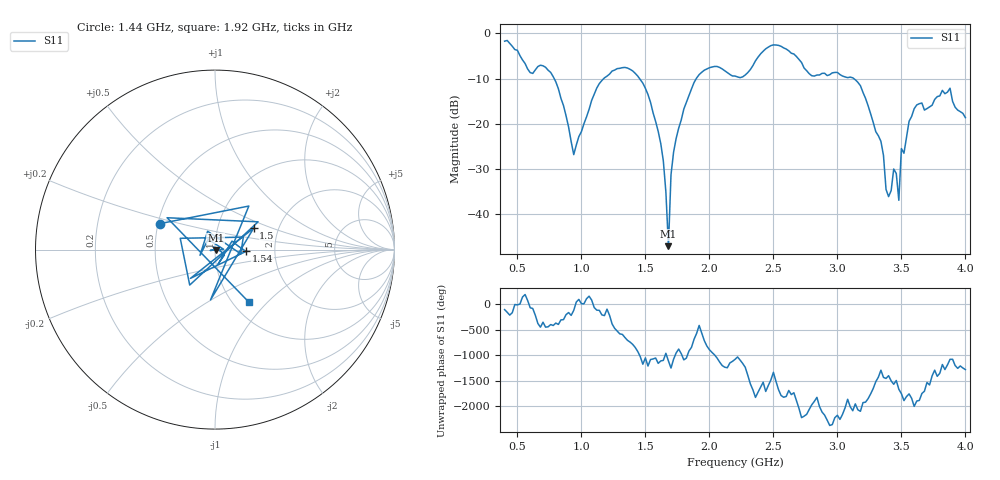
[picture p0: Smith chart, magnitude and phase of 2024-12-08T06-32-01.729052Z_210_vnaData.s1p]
!Created with skrf (http://scikit-rf.org).
# Hz S RI R 50.0
!freq ReS11 ImS11
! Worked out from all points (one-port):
!   181 points, 400 MHz to 4 GHz, reference 50 ohm
!   lowest |S11| = -47.1 dB at 1.68 GHz (marker M1), VSWR 1.01, Z = 50.4 - j0.235 ohm
!   |S11| at or under -10 dB: 787.2 MHz to 1.175 GHz (387.4 MHz wide, 39.5 % of centre); 1.454 GHz to 1.898 GHz (443.8 MHz wide, 26.5 % of centre); 3.128 GHz to end of sweep
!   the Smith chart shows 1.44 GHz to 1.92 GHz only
!   S11 on the Smith chart (normalised r, x): 1.44 GHz: 0.51, +0.17; 1.5 GHz: 1.49, +0.38; 1.54 GHz: 1.42, -0.03; 1.92 GHz: 1.18, -0.79
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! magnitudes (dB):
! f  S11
! 400 MHz  -1.7
! 600 MHz  -8.7
! 760 MHz  -8.6
! 860 MHz  -16.0
! 940 MHz  -26.8
! 1.12 GHz  -12.1
! 1.3 GHz  -7.7
! 1.44 GHz  -9.4
! 1.5 GHz  -12.2
! 1.54 GHz  -15.2
! 1.64 GHz  -28.2
! 1.68 GHz  -47.1
! 1.7 GHz  -31.3
! 1.76 GHz  -21.0
! 1.92 GHz  -9.1
! 2.2 GHz  -9.4
! 2.48 GHz  -2.7
! 2.66 GHz  -4.6
! 2.8 GHz  -9.4
! 3.1 GHz  -9.7
! 3.34 GHz  -23.9
! 3.4 GHz  -36.1
! 3.44 GHz  -30.0
! 3.48 GHz  -36.9
! 3.5 GHz  -25.5
! 3.56 GHz  -19.5
! 3.88 GHz  -12.1
! 4 GHz  -18.6
